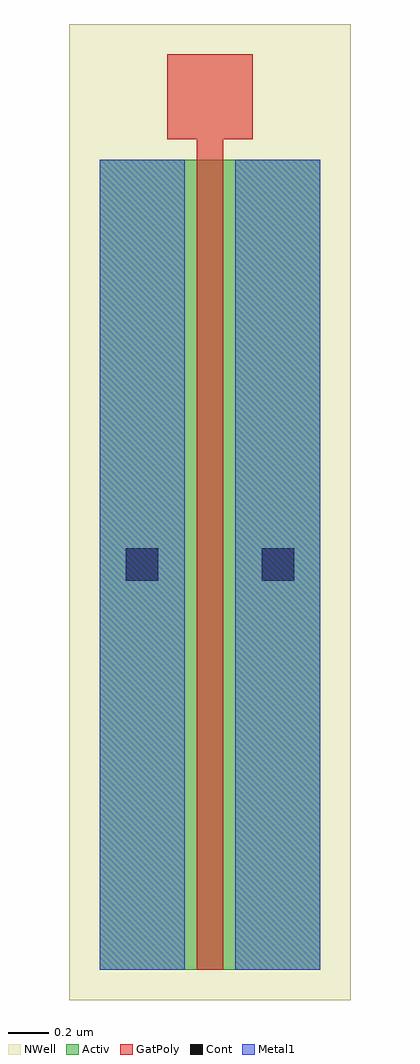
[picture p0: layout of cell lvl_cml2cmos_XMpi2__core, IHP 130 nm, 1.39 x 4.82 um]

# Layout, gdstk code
import gdstk
lib = gdstk.Library(unit=1e-6, precision=1e-09)
def R(c, l, rs):  # rectangles x0, y0, x1, y1
    for r in rs: c.add(gdstk.rectangle(r[:2], r[2:], *l))
Activ = (1, 0)
GatPoly = (5, 0)
Cont = (6, 0)
Metal1 = (8, 0)
NWell = (31, 0)

lvl_cml2cmos_xmpi2__core = lib.new_cell('lvl_cml2cmos_XMpi2__core')
R(lvl_cml2cmos_xmpi2__core, Activ, [(0,0,1.09,4)])
R(lvl_cml2cmos_xmpi2__core, GatPoly, [(0.48,0,0.61,4), (0.48,4,0.61,4.1), (0.335,4.1,0.755,4.52)])
R(lvl_cml2cmos_xmpi2__core, Cont, [(0.13,1.92,0.29,2.08), (0.8,1.92,0.96,2.08)])
R(lvl_cml2cmos_xmpi2__core, Metal1, [(0,0,0.42,4), (0.67,0,1.09,4)])
R(lvl_cml2cmos_xmpi2__core, NWell, [(-0.15,-0.15,1.24,4.67)])

lib.write_gds('lvl_cml2cmos_XMpi2__core.gds')
